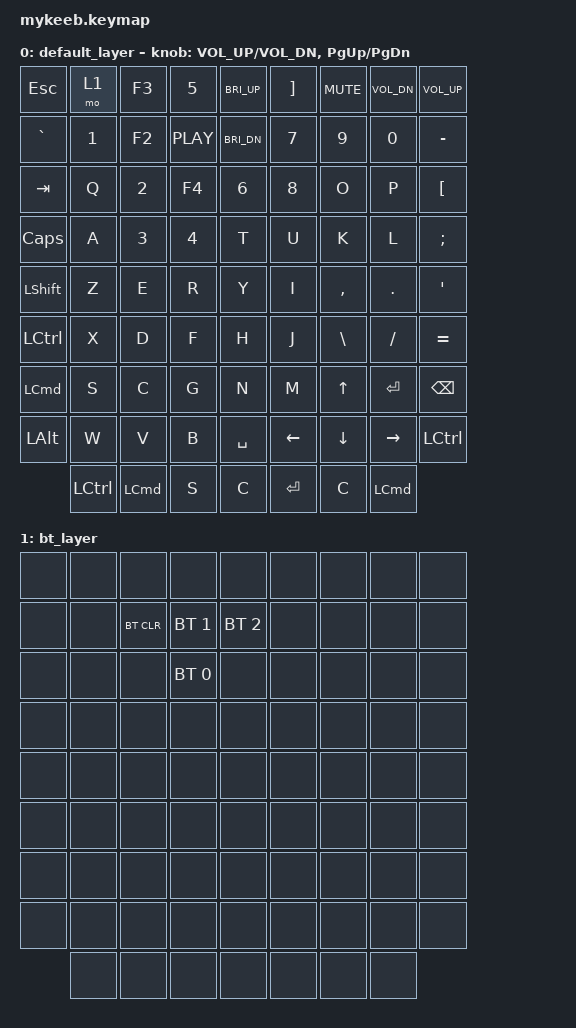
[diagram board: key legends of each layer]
#include <behaviors.dtsi>
#include <dt-bindings/zmk/keys.h>
#include <dt-bindings/zmk/bt.h>

/ {
    keymap {
        compatible = "zmk,keymap";

        default_layer {
        
// ----------------------------------------------------------------------------------------------------
// |  Esc   |  F1   |  F2   |  F3   |  F4   |  F5   |  F6   |  F7   |  F8   |  F9   |  F10   | RST    |
// |  +/=   |   1   |   2   |   3   |   4   |   5   |   6   |   7   |   8   |   9   |   0    | -/_    |
// |  TAB   |   Q   |   W   |   E   |   R   |   T   |   Y   |   U   |   I   |   O   |   P    | :/\    |
// |  CAPS  |   A   |   S   |   D   |   F   |   G   |   H   |   J   |   K   |   L   |   ;    | '/"    |
// | LSHIFT |   Z   |   X   |   C   |   V   |   B   |   N   |   M   |   ,   |   .   |   /    | RSHIFT |
// |        |   ~   |  :/\  |  LA   |  RA   |       |       |   UA  |  DA   |   [   |   ]    |        |
// |  BS    |  DEL  |  End  | HOME  |  ALT  |  CTRL |  CTRL |  Win  | PgUp  |  PgDn | Enter  | Space  |

           bindings = <
    &kp ESC    &mo 1   &kp F3    &kp N5    &kp C_BRI_UP    &kp RBKT    &kp C_MUTE    &kp C_VOL_DN   &kp C_VOL_UP
    &kp GRAVE     &kp N1   &kp F2   &kp C_PLAY &kp C_BRI_DN    &kp N7    &kp N9    &kp N0    &kp MINUS
    &kp TAB     &kp Q    &kp N2    &kp F4    &kp N6    &kp N8 &kp O   &kp P     &kp LBKT
    &kp CAPS      &kp A     &kp N3     &kp N4     &kp T     &kp U     &kp K     &kp L     &kp SEMI
    &kp LSHFT   &kp Z     &kp E     &kp R     &kp Y     &kp I     &kp COMMA     &kp DOT     &kp APOS
    &kp LCTRL      &kp X  &kp D  &kp F &kp H     &kp J     &kp BSLH     &kp SLASH     &kp EQUAL
    &kp LCMD      &kp S     &kp C &kp G   &kp N &kp M &kp UP &kp ENTER  &kp BSPC
    &kp LALT  &kp W  &kp V  &kp B  &kp SPACE   &kp LEFT   &kp DOWN  &kp RIGHT  &kp LCTRL
    &kp LCTRL  &kp LCMD  &kp S &kp C &kp ENTER &kp C &kp LCMD
>;

            sensor-bindings = <&inc_dec_kp C_VOL_UP C_VOL_DN &inc_dec_kp PG_UP PG_DN>;
        };
     bt_layer {
         bindings = <
    &none    &none   &none   &none    &none   &none    &none    &none  &none
    &none    &none   &bt BT_CLR   &bt BT_SEL 1 &bt BT_SEL 2    &none    &none    &none    &none
    &none     &none    &none    &bt BT_SEL 0    &none    &none &none   &none     &none
    &none      &none     &none     &none     &none     &none    &none    &none     &none
    &none   &none    &none     &none     &none     &none     &none     &none    &none
    &none      &none  &none  &none &none     &none     &none     &none     &none
    &none      &none     &none &none   &none &none &none &none  &none
    &none  &none  &none  &none  &none   &none   &none  &none  &none
    &none  &none  &none &none &none &none &none


          >;
       };
    };
};
